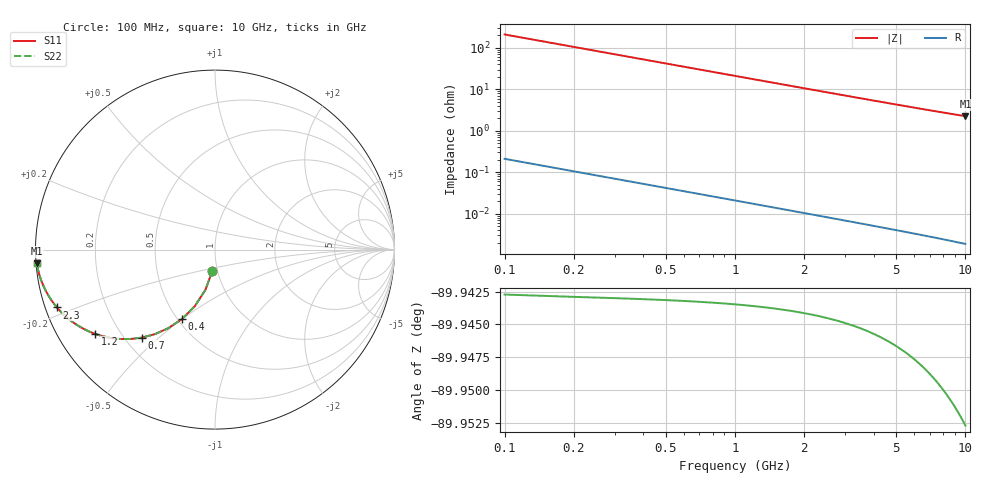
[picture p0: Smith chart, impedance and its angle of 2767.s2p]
# Hz S RI R 50.00
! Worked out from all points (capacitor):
!   100 points, 100 MHz to 10 GHz, reference 50 ohm
!   read as one part in shunt: C = 7.55 pF near 100 MHz
!   lowest |Z| = 2.26 ohm at 10 GHz (marker M1)
!   S11 on the Smith chart (normalised r, x): 100 MHz: 0.95, -0.22; 400 MHz: 0.53, -0.50; 700 MHz: 0.27, -0.44; 1.2 GHz: 0.11, -0.31; 2.3 GHz: 0.03, -0.18; 10 GHz: 0.00, -0.04
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1e8  -0.014 -0.1168  0.986 -0.117  0.986 -0.117  -0.014 -0.1168
2e8  -0.0534 -0.2243  0.9466 -0.2245  0.9466 -0.2245  -0.0534 -0.2243
3e8  -0.1125 -0.3153  0.8875 -0.3157  0.8875 -0.3157  -0.1125 -0.3153
4e8  -0.1838 -0.3866  0.8162 -0.3871  0.8162 -0.3871  -0.1838 -0.3866
5e8  -0.2601 -0.4379  0.7399 -0.4385  0.7399 -0.4385  -0.2601 -0.4379
6e8  -0.3359 -0.4714  0.664 -0.4722  0.664 -0.4722  -0.3359 -0.4714
7e8  -0.4076 -0.4904  0.5923 -0.4914  0.5923 -0.4914  -0.4076 -0.4904
9e8  -0.5319 -0.4979  0.4681 -0.4991  0.4681 -0.4991  -0.5319 -0.4979
1e9  -0.5837 -0.4918  0.4163 -0.4931  0.4163 -0.4931  -0.5837 -0.4918
1.2e9  -0.6685 -0.4694  0.3314 -0.471  0.3314 -0.471  -0.6685 -0.4694
1.3e9  -0.7029 -0.4556  0.2971 -0.4573  0.2971 -0.4573  -0.7029 -0.4556
1.5e9  -0.7589 -0.4262  0.2411 -0.4283  0.2411 -0.4283  -0.7589 -0.4262
1.8e9  -0.819 -0.3833  0.1809 -0.3857  0.1809 -0.3857  -0.819 -0.3833
2e9  -0.8481 -0.3571  0.1519 -0.3598  0.1519 -0.3598  -0.8481 -0.3571
2.3e9  -0.8806 -0.3222  0.1194 -0.3253  0.1194 -0.3253  -0.8806 -0.3222
2.8e9  -0.9161 -0.2749  0.0839 -0.2787  0.0839 -0.2787  -0.9161 -0.2749
3.4e9  -0.9414 -0.232  0.0585 -0.2366  0.0585 -0.2366  -0.9414 -0.232
4.2e9  -0.9608 -0.1906  0.0392 -0.1964  0.0392 -0.1964  -0.9608 -0.1906
5.1e9  -0.9731 -0.1577  0.0269 -0.1648  0.0269 -0.1648  -0.9731 -0.1577
6.7e9  -0.9843 -0.1191  0.0157 -0.1285  0.0157 -0.1285  -0.9843 -0.1191
8.4e9  -0.99 -0.0928  0.0099 -0.1047  0.0099 -0.1047  -0.99 -0.0928
1e10  -0.993 -0.0755  0.00689 -0.0897  0.00689 -0.0897  -0.993 -0.0755
